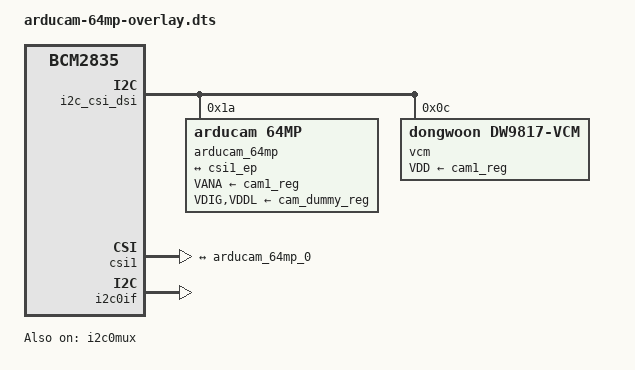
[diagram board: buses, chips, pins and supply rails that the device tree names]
// SPDX-License-Identifier: GPL-2.0-only
// Definitions for Arducam 64MP camera module on VC I2C bus
/dts-v1/;
/plugin/;

/{
	compatible = "brcm,bcm2835";

	i2c_frag: fragment@0 {
		target = <&i2c_csi_dsi>;
		__overlay__ {
			#address-cells = <1>;
			#size-cells = <0>;
			status = "okay";

			arducam_64mp: arducam_64mp@1a {
				compatible = "arducam,64mp";
				reg = <0x1a>;
				status = "okay";

				clocks = <&cam1_clk>;
				clock-names = "xclk";

				VANA-supply = <&cam1_reg>;	/* 2.8v */
				VDIG-supply = <&cam_dummy_reg>;	/* 1.8v */
				VDDL-supply = <&cam_dummy_reg>;	/* 1.2v */

				rotation = <0>;
				orientation = <2>;

				port {
					arducam_64mp_0: endpoint {
						remote-endpoint = <&csi1_ep>;
						clock-lanes = <0>;
						data-lanes = <1 2>;
						clock-noncontinuous;
						link-frequencies =
							/bits/ 64 <456000000>;
					};
				};
			};

			vcm: dw9817@c {
				compatible = "dongwoon,dw9817-vcm";
				reg = <0x0c>;
				status = "disabled";
				VDD-supply = <&cam1_reg>;
			};
		};
	};

	csi_frag: fragment@1 {
		target = <&csi1>;
		csi: __overlay__ {
			status = "okay";
			brcm,media-controller;

			port{
				csi1_ep: endpoint{
					remote-endpoint = <&arducam_64mp_0>;
					clock-lanes = <0>;
					data-lanes = <1 2>;
					clock-noncontinuous;
				};
			};
		};
	};

	fragment@2 {
		target = <&i2c0if>;
		__overlay__ {
			status = "okay";
		};
	};

	clk_frag: fragment@3 {
		target = <&cam1_clk>;
		__overlay__ {
			clock-frequency = <24000000>;
			status = "okay";
		};
	};

	fragment@4 {
		target = <&i2c0mux>;
		__overlay__ {
			status = "okay";
		};
	};

	fragment@5 {
		target = <&arducam_64mp>;
		__overlay__ {
			lens-focus = <&vcm>;
		};
	};

	__overrides__ {
		rotation = <&arducam_64mp>,"rotation:0";
		orientation = <&arducam_64mp>,"orientation:0";
		media-controller = <&csi>,"brcm,media-controller?";
		cam0 = <&i2c_frag>, "target:0=",<&i2c_vc>,
		       <&csi_frag>, "target:0=",<&csi0>,
		       <&clk_frag>, "target:0=",<&cam0_clk>,
		       <&arducam_64mp>, "clocks:0=",<&cam0_clk>,
		       <&arducam_64mp>, "VANA-supply:0=",<&cam0_reg>,
		       <&vcm>, "VDD-supply:0=", <&cam0_reg>;
		vcm = <&vcm>, "status",
		      <0>, "=5";
	};
};

&vcm {
	status = "okay";
};
